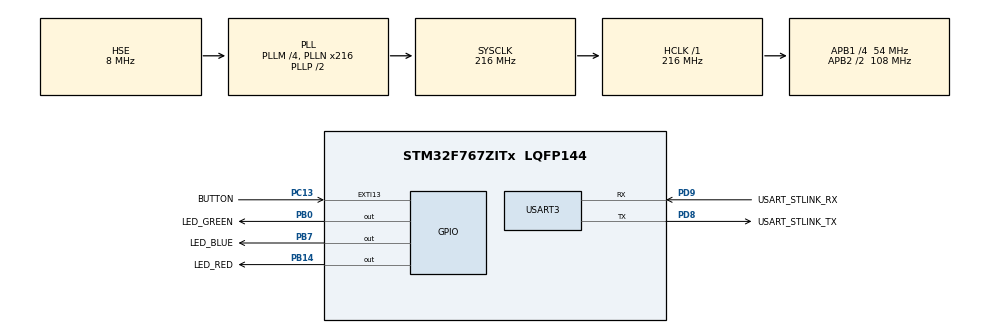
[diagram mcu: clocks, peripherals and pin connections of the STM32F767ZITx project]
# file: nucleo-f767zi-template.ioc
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FREERTOS.MEMORY_ALLOCATION=0
FREERTOS.Tasks01=defaultTask,0,128,StartDefaultTask,Default,NULL,Dynamic,NULL,NULL
Mcu.Family=STM32F7
Mcu.Name=STM32F767ZITx
Mcu.Package=LQFP144
NVIC.EXTI15_10_IRQn=true\:5\:0\:false\:false\:true\:true\:true\:true
NVIC.PriorityGroup=NVIC_PRIORITYGROUP_4
NVIC.TIM2_IRQn=true\:15\:0\:false\:false\:true\:false\:false\:true
NVIC.TimeBase=TIM2_IRQn
NVIC.TimeBaseIP=TIM2
NVIC.USART3_IRQn=true\:5\:0\:false\:false\:true\:true\:true\:true
PB0.GPIO_Label=LED_GREEN
PB0.Signal=GPIO_Output
PB14.GPIO_Label=LED_RED
PB14.Signal=GPIO_Output
PB7.GPIO_Label=LED_BLUE
PB7.Signal=GPIO_Output
PC13.GPIO_Label=BUTTON
PC13.Signal=GPXTI13
PC14/OSC32_IN.Mode=LSE-External-Oscillator
PC14/OSC32_IN.Signal=RCC_OSC32_IN
PC15/OSC32_OUT.Mode=LSE-External-Oscillator
PC15/OSC32_OUT.Signal=RCC_OSC32_OUT
PD8.GPIO_Label=USART_STLINK_TX
PD8.Mode=Asynchronous
PD8.Signal=USART3_TX
PD9.GPIO_Label=USART_STLINK_RX
PD9.Mode=Asynchronous
PD9.Signal=USART3_RX
PH0/OSC_IN.Mode=HSE-External-Oscillator
PH0/OSC_IN.Signal=RCC_OSC_IN
PH1/OSC_OUT.Mode=HSE-External-Oscillator
PH1/OSC_OUT.Signal=RCC_OSC_OUT
ProjectManager.HeapSize=0x200
ProjectManager.StackSize=0x400
ProjectManager.TargetToolchain=EWARM V7
RCC.AHBFreq_Value=216000000
RCC.APB1CLKDivider=RCC_HCLK_DIV4
RCC.APB1Freq_Value=54000000
RCC.APB1TimFreq_Value=108000000
RCC.APB2CLKDivider=RCC_HCLK_DIV2
RCC.APB2Freq_Value=108000000
RCC.APB2TimFreq_Value=216000000
RCC.CortexFreq_Value=216000000
RCC.HCLKFreq_Value=216000000
RCC.HSE_VALUE=8000000
RCC.HSI_VALUE=16000000
RCC.PLLM=4
RCC.PLLN=216
RCC.PLLQ=9
RCC.PLLSourceVirtual=RCC_PLLSOURCE_HSE
RCC.SYSCLKFreq_VALUE=216000000
RCC.SYSCLKSource=RCC_SYSCLKSOURCE_PLLCLK
RCC.USBFreq_Value=48000000
RCC.VCOOutputFreq_Value=432000000
USART3.VirtualMode-Asynchronous=VM_ASYNC
VP_FREERTOS_VS_CMSIS_V1.Mode=CMSIS_V1
VP_SYS_VS_tim2.Mode=TIM2
board=custom

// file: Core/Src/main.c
/* USER CODE BEGIN Header */
/**
  ******************************************************************************
  * @file           : main.c
  * @brief          : Main program body
  ******************************************************************************
  * @attention
  *
  * <h2><center>&copy; Copyright (c) 2021 STMicroelectronics.
  * All rights reserved.</center></h2>
  *
  * This software component is licensed by ST under Ultimate Liberty license
  * SLA0044, the "License"; You may not use this file except in compliance with
  * the License. You may obtain a copy of the License at:
  *                             www.st.com/SLA0044
  *
  ******************************************************************************
  */
/* USER CODE END Header */
#include "main.h"
#include "cmsis_os.h"

/* USER CODE BEGIN Includes */
#include <stdio.h>
/* USER CODE END Includes */

/* USER CODE BEGIN PD */
#define UART_RX_BUFFER_SIZE 32
/* USER CODE END PD */

UART_HandleTypeDef huart3;

osThreadId defaultTaskHandle;
/* USER CODE BEGIN PV */
uint32_t printIndex;
uint32_t uartRxIndex;
uint8_t uartRxByte;
uint8_t uartRxBuffer[UART_RX_BUFFER_SIZE];
/* USER CODE END PV */

void SystemClock_Config(void);
static void MX_GPIO_Init(void);
static void MX_USART3_UART_Init(void);
void StartDefaultTask(void const * argument);

int main(void)
{
  /* USER CODE BEGIN 1 */
  uartRxIndex = 0;
  /* USER CODE END 1 */

  /* MCU Configuration--------------------------------------------------------*/

  /* Reset of all peripherals, Initializes the Flash interface and the Systick. */
  HAL_Init();

  /* Configure the system clock */
  SystemClock_Config();

  /* Initialize all configured peripherals */
  MX_GPIO_Init();
  MX_USART3_UART_Init();
  /* USER CODE BEGIN 2 */
  HAL_UART_Receive_IT(&huart3, &uartRxByte, sizeof(uint8_t));
  /* USER CODE END 2 */

  /* Create the thread(s) */
  /* definition and creation of defaultTask */
  osThreadDef(defaultTask, StartDefaultTask, osPriorityNormal, 0, 128);
  defaultTaskHandle = osThreadCreate(osThread(defaultTask), NULL);

  /* Start scheduler */
  osKernelStart();

  /* We should never get here as control is now taken by the scheduler */
  /* Infinite loop */
  while(1)
  {

  }
}

void SystemClock_Config(void)
{
  RCC_OscInitTypeDef RCC_OscInitStruct = {0};
  RCC_ClkInitTypeDef RCC_ClkInitStruct = {0};
  RCC_PeriphCLKInitTypeDef PeriphClkInitStruct = {0};

  /** Configure LSE Drive Capability
  */
  HAL_PWR_EnableBkUpAccess();
  /** Configure the main internal regulator output voltage
  */
  __HAL_RCC_PWR_CLK_ENABLE();
  __HAL_PWR_VOLTAGESCALING_CONFIG(PWR_REGULATOR_VOLTAGE_SCALE1);
  /** Initializes the RCC Oscillators according to the specified parameters
  * in the RCC_OscInitTypeDef structure.
  */
  RCC_OscInitStruct.OscillatorType = RCC_OSCILLATORTYPE_HSE;
  RCC_OscInitStruct.HSEState = RCC_HSE_ON;
  RCC_OscInitStruct.PLL.PLLState = RCC_PLL_ON;
  RCC_OscInitStruct.PLL.PLLSource = RCC_PLLSOURCE_HSE;
  RCC_OscInitStruct.PLL.PLLM = 4;
  RCC_OscInitStruct.PLL.PLLN = 216;
  RCC_OscInitStruct.PLL.PLLP = RCC_PLLP_DIV2;
  RCC_OscInitStruct.PLL.PLLQ = 9;
  RCC_OscInitStruct.PLL.PLLR = 2;
  if (HAL_RCC_OscConfig(&RCC_OscInitStruct) != HAL_OK)
  {
    Error_Handler();
  }
  /** Activate the Over-Drive mode
  */
  if (HAL_PWREx_EnableOverDrive() != HAL_OK)
  {
    Error_Handler();
  }
  /** Initializes the CPU, AHB and APB buses clocks
  */
  RCC_ClkInitStruct.ClockType = RCC_CLOCKTYPE_HCLK|RCC_CLOCKTYPE_SYSCLK
                              |RCC_CLOCKTYPE_PCLK1|RCC_CLOCKTYPE_PCLK2;
  RCC_ClkInitStruct.SYSCLKSource = RCC_SYSCLKSOURCE_PLLCLK;
  RCC_ClkInitStruct.AHBCLKDivider = RCC_SYSCLK_DIV1;
  RCC_ClkInitStruct.APB1CLKDivider = RCC_HCLK_DIV4;
  RCC_ClkInitStruct.APB2CLKDivider = RCC_HCLK_DIV2;

  if (HAL_RCC_ClockConfig(&RCC_ClkInitStruct, FLASH_LATENCY_7) != HAL_OK)
  {
    Error_Handler();
  }
  PeriphClkInitStruct.PeriphClockSelection = RCC_PERIPHCLK_USART3;
  PeriphClkInitStruct.Usart3ClockSelection = RCC_USART3CLKSOURCE_PCLK1;
  if (HAL_RCCEx_PeriphCLKConfig(&PeriphClkInitStruct) != HAL_OK)
  {
    Error_Handler();
  }
}

static void MX_USART3_UART_Init(void)
{

  huart3.Instance = USART3;
  huart3.Init.BaudRate = 115200;
  huart3.Init.WordLength = UART_WORDLENGTH_8B;
  huart3.Init.StopBits = UART_STOPBITS_1;
  huart3.Init.Parity = UART_PARITY_NONE;
  huart3.Init.Mode = UART_MODE_TX_RX;
  huart3.Init.HwFlowCtl = UART_HWCONTROL_NONE;
  huart3.Init.OverSampling = UART_OVERSAMPLING_16;
  huart3.Init.OneBitSampling = UART_ONE_BIT_SAMPLE_DISABLE;
  huart3.AdvancedInit.AdvFeatureInit = UART_ADVFEATURE_NO_INIT;
  if (HAL_UART_Init(&huart3) != HAL_OK)
  {
    Error_Handler();
  }

}

static void MX_GPIO_Init(void)
{
  GPIO_InitTypeDef GPIO_InitStruct = {0};

  /* GPIO Ports Clock Enable */
  __HAL_RCC_GPIOC_CLK_ENABLE();
  __HAL_RCC_GPIOH_CLK_ENABLE();
  __HAL_RCC_GPIOB_CLK_ENABLE();
  __HAL_RCC_GPIOD_CLK_ENABLE();

  /*Configure GPIO pin Output Level */
  HAL_GPIO_WritePin(GPIOB, LED_GREEN_Pin|LED_RED_Pin|LED_BLUE_Pin, GPIO_PIN_RESET);

  /*Configure GPIO pin : BUTTON_Pin */
  GPIO_InitStruct.Pin = BUTTON_Pin;
  GPIO_InitStruct.Mode = GPIO_MODE_IT_RISING;
  GPIO_InitStruct.Pull = GPIO_NOPULL;
  HAL_GPIO_Init(BUTTON_GPIO_Port, &GPIO_InitStruct);

  /*Configure GPIO pins : LED_GREEN_Pin LED_RED_Pin LED_BLUE_Pin */
  GPIO_InitStruct.Pin = LED_GREEN_Pin|LED_RED_Pin|LED_BLUE_Pin;
  GPIO_InitStruct.Mode = GPIO_MODE_OUTPUT_PP;
  GPIO_InitStruct.Pull = GPIO_NOPULL;
  GPIO_InitStruct.Speed = GPIO_SPEED_FREQ_LOW;
  HAL_GPIO_Init(GPIOB, &GPIO_InitStruct);

  /* EXTI interrupt init*/
  HAL_NVIC_SetPriority(EXTI15_10_IRQn, 5, 0);
  HAL_NVIC_EnableIRQ(EXTI15_10_IRQn);

}

/* USER CODE BEGIN 4 */
/**
  * @brief  EXTI line detection callbacks.
  * @param  GPIO_Pin Specifies the pins connected EXTI line
  * @retval None
  */
void HAL_GPIO_EXTI_Callback(uint16_t GPIO_Pin)
{
  if(BUTTON_Pin == GPIO_Pin)
  {
    printf("Button is pressed!\r\n");
  }
}

/**
  * @brief  Rx Transfer completed callback.
  * @param  huart UART handle.
  * @retval None
  */
void HAL_UART_RxCpltCallback(UART_HandleTypeDef *huart)
{
  if(USART3 == huart->Instance)
  {
    if(UART_RX_BUFFER_SIZE == uartRxIndex)
    {
      uartRxIndex = 0;
    }
    uartRxBuffer[uartRxIndex++] = uartRxByte;
    HAL_UART_Receive_IT(huart, &uartRxByte, sizeof(uint8_t));
  }
}

/**
  * @brief  Overwrite the standard printf function to output on USART-STLINK
  * @param  ch character
  * @param  stream stream of bytes
  * @retval sent character
  */
int fputc(int ch, FILE* stream)
{
  HAL_UART_Transmit(&huart3, (uint8_t *)&ch, sizeof(uint8_t), HAL_MAX_DELAY);
  return ch;
}
/* USER CODE END 4 */

void StartDefaultTask(void const * argument)
{
  /* USER CODE BEGIN 5 */
  printIndex = 0;
  /* Infinite loop */
  for(;;)
  {
    printf("Toggling LEDs %lu\r\n", printIndex++);
    HAL_GPIO_TogglePin(LED_GREEN_GPIO_Port, LED_GREEN_Pin);
    HAL_GPIO_TogglePin(LED_BLUE_GPIO_Port, LED_BLUE_Pin);
    HAL_GPIO_TogglePin(LED_RED_GPIO_Port, LED_RED_Pin);
    osDelay(300);
  }
  /* USER CODE END 5 */
}

void HAL_TIM_PeriodElapsedCallback(TIM_HandleTypeDef *htim)
{
  if (htim->Instance == TIM2) {
    HAL_IncTick();
  }
}

void Error_Handler(void)
{
  __disable_irq();
  while (1)
  {
  }
}

/************************ (C) COPYRIGHT STMicroelectronics *****END OF FILE****/
